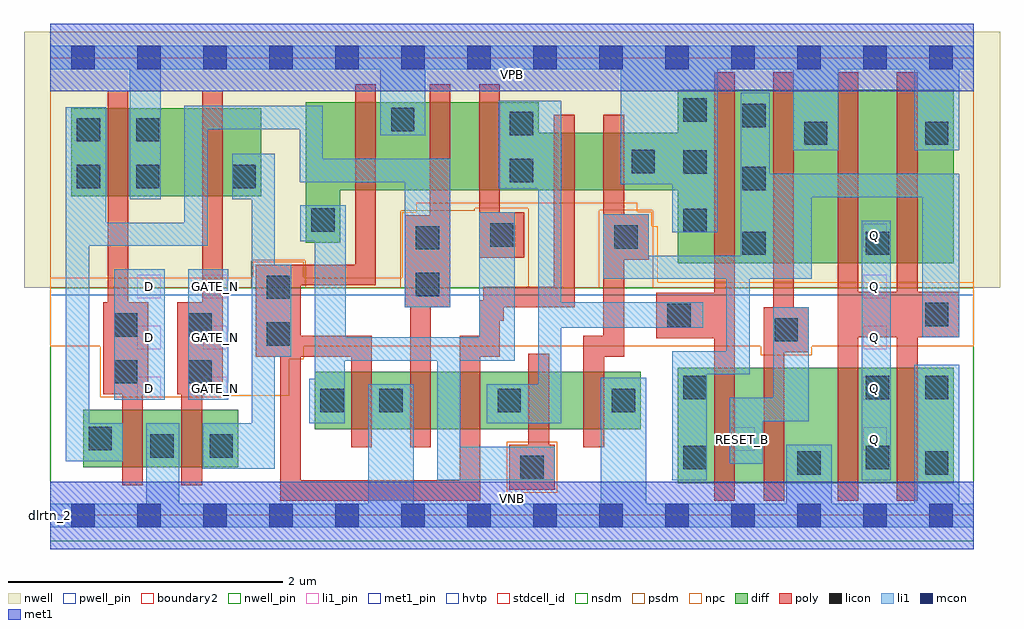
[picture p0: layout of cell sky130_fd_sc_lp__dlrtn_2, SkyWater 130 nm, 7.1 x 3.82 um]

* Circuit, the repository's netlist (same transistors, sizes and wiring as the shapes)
* Copyright 2020 The SkyWater PDK Authors
*
* Licensed under the Apache License, Version 2.0 (the "License");
* you may not use this file except in compliance with the License.
* You may obtain a copy of the License at
*
*     https://www.apache.org/licenses/LICENSE-2.0
*
* Unless required by applicable law or agreed to in writing, software
* distributed under the License is distributed on an "AS IS" BASIS,
* WITHOUT WARRANTIES OR CONDITIONS OF ANY KIND, either express or implied.
* See the License for the specific language governing permissions and
* limitations under the License.
*
* SPDX-License-Identifier: Apache-2.0

.SUBCKT sky130_fd_sc_lp__dlrtn_2 D GATE_N RESET_B VGND VNB VPB VPWR Q
*.PININFO D:I GATE_N:I RESET_B:I VGND:I VNB:I VPB:I VPWR:I Q:O
MI635 clkneg clkpos VPWR VPB sky130_fd_pr__pfet_01v8_hvt m=1 w=0.64U l=0.15U mult=1
+ sa=0.265 sb=0.265 sd=0.28 area=0.063 perim=1.14
MI17 M0 clkneg net51 VPB sky130_fd_pr__pfet_01v8_hvt m=1 w=0.64U l=0.15U mult=1
+ sa=0.265 sb=0.265 sd=0.28 area=0.063 perim=1.14
MI650 Q m1 VPWR VPB sky130_fd_pr__pfet_01v8_hvt m=2 w=1.26U l=0.15U mult=1 sa=0.265
+ sb=0.265 sd=0.28 area=0.063 perim=1.14
MI633 clkpos GATE_N VPWR VPB sky130_fd_pr__pfet_01v8_hvt m=1 w=0.64U l=0.15U mult=1
+ sa=0.265 sb=0.265 sd=0.28 area=0.063 perim=1.14
MI658 m1 RESET_B VPWR VPB sky130_fd_pr__pfet_01v8_hvt m=1 w=1.26U l=0.15U mult=1
+ sa=0.265 sb=0.265 sd=0.28 area=0.063 perim=1.14
MI18 net51 db VPWR VPB sky130_fd_pr__pfet_01v8_hvt m=1 w=0.64U l=0.15U mult=1 sa=0.265
+ sb=0.265 sd=0.28 area=0.063 perim=1.14
MI653 net59 m1 VPWR VPB sky130_fd_pr__pfet_01v8_hvt m=1 w=0.42U l=0.15U mult=1
+ sa=0.265 sb=0.265 sd=0.28 area=0.063 perim=1.14
MI651 M0 clkpos net59 VPB sky130_fd_pr__pfet_01v8_hvt m=1 w=0.42U l=0.15U mult=1
+ sa=0.265 sb=0.265 sd=0.28 area=0.063 perim=1.14
MI655 m1 M0 VPWR VPB sky130_fd_pr__pfet_01v8_hvt m=1 w=1.26U l=0.15U mult=1 sa=0.265
+ sb=0.265 sd=0.28 area=0.063 perim=1.14
MI638 db D VPWR VPB sky130_fd_pr__pfet_01v8_hvt m=1 w=0.64U l=0.15U mult=1 sa=0.265
+ sb=0.265 sd=0.28 area=0.063 perim=1.14
MI634 clkpos GATE_N VGND VNB sky130_fd_pr__nfet_01v8 m=1 w=0.42U l=0.15U mult=1
+ sa=0.265 sb=0.265 sd=0.28 area=0.063 perim=1.14
MI649 Q m1 VGND VNB sky130_fd_pr__nfet_01v8 m=2 w=0.84U l=0.15U mult=1 sa=0.265
+ sb=0.265 sd=0.28 area=0.063 perim=1.14
MI657 net86 RESET_B VGND VNB sky130_fd_pr__nfet_01v8 m=1 w=0.84U l=0.15U mult=1
+ sa=0.265 sb=0.265 sd=0.28 area=0.063 perim=1.14
MI652 M0 clkneg net102 VNB sky130_fd_pr__nfet_01v8 m=1 w=0.42U l=0.15U mult=1 sa=0.265
+ sb=0.265 sd=0.28 area=0.063 perim=1.14
MI654 net102 m1 VGND VNB sky130_fd_pr__nfet_01v8 m=1 w=0.42U l=0.15U mult=1 sa=0.265
+ sb=0.265 sd=0.28 area=0.063 perim=1.14
MI656 m1 M0 net86 VNB sky130_fd_pr__nfet_01v8 m=1 w=0.84U l=0.15U mult=1 sa=0.265
+ sb=0.265 sd=0.28 area=0.063 perim=1.14
MI636 clkneg clkpos VGND VNB sky130_fd_pr__nfet_01v8 m=1 w=0.42U l=0.15U mult=1
+ sa=0.265 sb=0.265 sd=0.28 area=0.063 perim=1.14
MI637 db D VGND VNB sky130_fd_pr__nfet_01v8 m=1 w=0.42U l=0.15U mult=1 sa=0.265
+ sb=0.265 sd=0.28 area=0.063 perim=1.14
MI19 M0 clkpos net98 VNB sky130_fd_pr__nfet_01v8 m=1 w=0.42U l=0.15U mult=1 sa=0.265
+ sb=0.265 sd=0.28 area=0.063 perim=1.14
MI20 net98 db VGND VNB sky130_fd_pr__nfet_01v8 m=1 w=0.42U l=0.15U mult=1 sa=0.265
+ sb=0.265 sd=0.28 area=0.063 perim=1.14
.ENDS sky130_fd_sc_lp__dlrtn_2

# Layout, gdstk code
import gdstk
lib = gdstk.Library(unit=1e-6, precision=1e-09)
def R(c, l, rs):  # rectangles x0, y0, x1, y1
    for r in rs: c.add(gdstk.rectangle(r[:2], r[2:], *l))
def A(c, l, x, y, w, h, nx, ny, dx, dy):  # array of equal rectangles
    R(c, l, [(x+i*dx, y+j*dy, x+i*dx+w, y+j*dy+h) for i in range(nx) for j in range(ny)])
def P(c, l, *ps):  # polygons
    for p in ps: c.add(gdstk.Polygon(p, *l))
nwell_pin = (64, 16)
nwell = (64, 20)
diff = (65, 20)
poly = (66, 20)
licon = (66, 44)
li1_pin = (67, 16)
li1 = (67, 20)
mcon = (67, 44)
met1_pin = (68, 16)
met1 = (68, 20)
hvtp = (78, 44)
stdcell_id = (81, 4)
nsdm = (93, 44)
psdm = (94, 20)
npc = (95, 20)
pwell_pin = (122, 16)
boundary2 = (236, 0)

sky130_fd_sc_lp__dlrtn_2 = lib.new_cell('sky130_fd_sc_lp__dlrtn_2')
R(sky130_fd_sc_lp__dlrtn_2, nwell_pin, [(0,3.085,6.72,3.33)])
R(sky130_fd_sc_lp__dlrtn_2, nwell, [(-0.19,1.655,6.91,3.52)])
R(sky130_fd_sc_lp__dlrtn_2, diff, [(4.565,0.235,6.575,1.075), (0.24,0.35,1.37,0.77), (1.925,0.625,4.295,1.045), (0.155,2.32,1.535,2.96)])
P(sky130_fd_sc_lp__dlrtn_2, diff, [(6.575,3.095),(4.565,3.095),(4.565,2.785),(3.555,2.785),(3.555,3.005),(1.86,3.005),(1.86,1.985),(2.11,1.985),(2.11,2.365),(4.565,2.365),(4.565,1.835),(6.575,1.835)])
P(sky130_fd_sc_lp__dlrtn_2, poly, [(0.715,1.55),(0.57,1.55),(0.57,3.09),(0.42,3.09),(0.42,1.55),(0.385,1.55),(0.385,0.88),(0.525,0.88),(0.525,0.22),(0.675,0.22),(0.675,0.88),(0.715,0.88)],
  [(1.255,3.09),(1.105,3.09),(1.105,1.55),(0.925,1.55),(0.925,0.88),(0.955,0.88),(0.955,0.22),(1.105,0.22),(1.105,0.88),(1.255,0.88)],
  [(2.91,3.135),(2.76,3.135),(2.76,2.185),(2.58,2.185),(2.58,1.515),(2.62,1.515),(2.62,0.495),(2.77,0.495),(2.77,1.515),(2.91,1.515)],
  [(3.45,2.205),(3.27,2.205),(3.27,3.135),(3.12,3.135),(3.12,1.875),(3.45,1.875)],
  [(3.67,0.515),(3.63,0.515),(3.63,1.175),(3.48,1.175),(3.48,0.515),(3.34,0.515),(3.34,0.185),(3.67,0.185)],
  [(3.815,2.915),(3.665,2.915),(3.665,1.665),(3.15,1.665),(3.15,1.565),(3.12,1.565),(3.12,1.305),(2.98,1.305),(2.98,0.255),(1.825,0.255),(1.825,1.155),(2.19,1.155),(2.19,0.495),(2.34,0.495),(2.34,1.305),(1.825,1.305),(1.825,1.675),(2.37,1.675),(2.37,3.135),(2.22,3.135),(2.22,1.825),(1.495,1.825),(1.495,1.155),(1.675,1.155),(1.675,0.105),(3.13,0.105),(3.13,1.155),(3.27,1.155),(3.27,1.415),(3.3,1.415),(3.3,1.515),(3.815,1.515)],
  [(4.355,2.19),(4.175,2.19),(4.175,2.915),(4.025,2.915),(4.025,1.305),(3.88,1.305),(3.88,0.495),(4.03,0.495),(4.03,1.155),(4.175,1.155),(4.175,1.86),(4.355,1.86)],
  [(4.98,3.225),(4.83,3.225),(4.83,1.62),(4.41,1.62),(4.41,1.29),(4.83,1.29),(4.83,0.105),(4.98,0.105)],
  [(5.52,1.515),(5.41,1.515),(5.41,3.225),(5.26,3.225),(5.26,1.515),(5.19,1.515),(5.19,0.105),(5.34,0.105),(5.34,1.185),(5.52,1.185)],
  [(6.615,1.625),(6.31,1.625),(6.31,3.225),(6.16,3.225),(6.16,1.625),(5.88,1.625),(5.88,3.225),(5.73,3.225),(5.73,0.105),(5.88,0.105),(5.88,1.295),(6.16,1.295),(6.16,0.105),(6.31,0.105),(6.31,1.295),(6.615,1.295)])
R(sky130_fd_sc_lp__dlrtn_2, licon, [(3.42,0.265,3.59,0.435), (5.435,0.295,5.605,0.465), (6.365,0.295,6.535,0.465), (4.605,0.335,4.775,0.505), (5.935,0.335,6.105,0.505), (0.73,0.42,0.9,0.59), (1.16,0.42,1.33,0.59), (0.28,0.475,0.45,0.645), (1.965,0.75,2.135,0.92), (2.395,0.75,2.565,0.92), (3.255,0.75,3.425,0.92), (4.085,0.75,4.255,0.92), (4.605,0.845,4.775,1.015), (5.935,0.845,6.105,1.015), (6.365,0.845,6.535,1.015), (0.465,0.96,0.635,1.13), (1.005,0.96,1.175,1.13), (1.575,1.235,1.745,1.405), (5.27,1.265,5.44,1.435), (0.465,1.3,0.635,1.47), (1.005,1.3,1.175,1.47), (4.49,1.37,4.66,1.54), (6.365,1.375,6.535,1.545), (1.575,1.575,1.745,1.745), (2.66,1.595,2.83,1.765), (5.035,1.895,5.205,2.065), (5.935,1.895,6.105,2.065), (2.66,1.935,2.83,2.105), (4.105,1.94,4.275,2.11), (3.2,1.955,3.37,2.125), (4.605,2.06,4.775,2.23), (1.9,2.065,2.07,2.235), (5.035,2.365,5.205,2.535), (0.195,2.38,0.365,2.55), (0.625,2.38,0.795,2.55), (1.325,2.38,1.495,2.55), (3.345,2.425,3.515,2.595), (4.605,2.485,4.775,2.655), (4.23,2.49,4.4,2.66), (5.485,2.695,5.655,2.865), (6.365,2.695,6.535,2.865), (0.195,2.72,0.365,2.89), (0.625,2.72,0.795,2.89), (3.345,2.765,3.515,2.935), (2.48,2.795,2.65,2.965), (5.035,2.825,5.205,2.995), (4.605,2.865,4.775,3.035)])
A(sky130_fd_sc_lp__dlrtn_2, li1_pin, 5.915, 0.47, 0.17, 0.17, 1, 5, 0, 0.37)
A(sky130_fd_sc_lp__dlrtn_2, li1_pin, 0.635, 0.84, 0.17, 0.17, 1, 3, 0, 0.37)
A(sky130_fd_sc_lp__dlrtn_2, li1_pin, 1.115, 0.84, 0.17, 0.17, 1, 3, 0, 0.37)
R(sky130_fd_sc_lp__dlrtn_2, li1_pin, [(4.955,0.47,5.125,0.64)])
R(sky130_fd_sc_lp__dlrtn_2, li1, [(5.905,0.255,6.115,2.145), (0.465,0.84,0.835,1.79), (1.005,0.84,1.295,1.79)])
P(sky130_fd_sc_lp__dlrtn_2, li1, [(6.615,2.485),(5.235,2.485),(5.235,3.075),(5.025,3.075),(5.025,1.89),(4.355,1.89),(4.355,2.19),(4.025,2.19),(4.025,1.72),(4.92,1.72),(4.92,1.195),(4.525,1.195),(4.525,0.255),(4.775,0.255),(4.775,1.025),(5.09,1.025),(5.09,1.72),(5.54,1.72),(5.54,2.315),(6.345,2.315),(6.345,1.295),(6.615,1.295)],
  [(5.26,0.855),(5.26,1.515),(5.52,1.515),(5.52,0.685),(5.185,0.685),(5.185,0.375),(4.945,0.375),(4.945,0.855)],
  [(6.72,3.415),(0,3.415),(0,3.245),(0.58,3.245),(0.58,2.3),(0.805,2.3),(0.805,3.245),(2.4,3.245),(2.4,2.765),(2.73,2.765),(2.73,3.245),(4.15,3.245),(4.15,2.41),(4.525,2.41),(4.525,2.06),(4.855,2.06),(4.855,3.245),(5.405,3.245),(5.405,2.655),(5.735,2.655),(5.735,3.245),(6.285,3.245),(6.285,2.655),(6.615,2.655),(6.615,3.245),(6.72,3.245)],
  [(0.7,0.085),(0.7,0.67),(0.94,0.67),(0.94,0.085),(2.315,0.085),(2.315,0.955),(2.645,0.955),(2.645,0.085),(4.005,0.085),(4.005,1),(4.335,1),(4.335,0.085),(5.355,0.085),(5.355,0.515),(5.685,0.515),(5.685,0.085),(6.285,0.085),(6.285,1.095),(6.615,1.095),(6.615,0.085),(6.72,0.085),(6.72,-0.085),(0,-0.085),(0,0.085)],
  [(3.72,1.55),(4.75,1.55),(4.75,1.365),(3.72,1.365),(3.72,0.67),(3.175,0.67),(3.175,0.955),(3.55,0.955),(3.55,2.375),(3.265,2.375),(3.265,3.015),(3.72,3.015)],
  [(1.635,1.825),(1.755,1.825),(1.755,1.155),(1.635,1.155),(1.635,0.34),(1.11,0.34),(1.11,0.67),(1.465,0.67),(1.465,2.3),(1.325,2.3),(1.325,2.63),(1.635,2.63)],
  [(0.285,1.96),(0.285,0.67),(0.53,0.67),(0.53,0.395),(0.115,0.395),(0.115,2.97),(0.41,2.97),(0.41,2.13),(0.975,2.13),(0.975,2.98),(1.985,2.98),(1.985,2.595),(2.91,2.595),(2.91,1.515),(2.58,1.515),(2.58,2.425),(1.815,2.425),(1.815,2.81),(1.145,2.81),(1.145,1.96)],
  [(3.67,0.5),(2.985,0.5),(2.985,1.125),(3.38,1.125),(3.38,2.205),(3.12,2.205),(3.12,1.295),(2.15,1.295),(2.15,2.255),(1.82,2.255),(1.82,1.995),(1.925,1.995),(1.925,0.995),(1.885,0.995),(1.885,0.67),(2.145,0.67),(2.145,1.125),(2.815,1.125),(2.815,0.255),(3.67,0.255)])
A(sky130_fd_sc_lp__dlrtn_2, mcon, 0.155, -0.085, 0.17, 0.17, 14, 2, 0.48, 3.33)
R(sky130_fd_sc_lp__dlrtn_2, met1_pin, [(0,0,6.72,0.245), (0,3.085,6.72,3.33)])
R(sky130_fd_sc_lp__dlrtn_2, met1, [(0,-0.245,6.72,0.245), (0,3.085,6.72,3.575)])
R(sky130_fd_sc_lp__dlrtn_2, hvtp, [(0,1.6,6.72,3.33)])
R(sky130_fd_sc_lp__dlrtn_2, stdcell_id, [(0,0,6.72,3.33)])
R(sky130_fd_sc_lp__dlrtn_2, nsdm, [(0,-0.19,6.72,1.655)])
P(sky130_fd_sc_lp__dlrtn_2, psdm, [(6.72,3.52),(0,3.52),(0,1.655),(1.465,1.655),(1.465,1.855),(1.855,1.855),(1.855,1.655),(2.55,1.655),(2.55,2.215),(3.09,2.215),(3.09,2.235),(3.48,2.235),(3.48,1.655),(3.995,1.655),(3.995,2.22),(4.385,2.22),(4.385,1.655),(6.72,1.655)])
R(sky130_fd_sc_lp__dlrtn_2, npc, [(3.32,0.165,3.69,0.535)])
P(sky130_fd_sc_lp__dlrtn_2, npc, [(6.72,1.695),(4.42,1.695),(4.42,2.105),(4.375,2.105),(4.375,2.21),(4.27,2.21),(4.27,2.275),(2.665,2.275),(2.665,2.205),(2.56,2.205),(2.56,1.73),(1.845,1.73),(1.845,1.845),(1.475,1.845),(1.475,1.73),(0,1.73),(0,1.23),(0.365,1.23),(0.365,0.86),(1.275,0.86),(1.275,0.87),(1.74,0.87),(1.74,1.135),(1.845,1.135),(1.845,1.23),(5.17,1.23),(5.17,1.165),(5.54,1.165),(5.54,1.23),(6.72,1.23)])
R(sky130_fd_sc_lp__dlrtn_2, pwell_pin, [(0,0,6.72,0.245)])
R(sky130_fd_sc_lp__dlrtn_2, boundary2, [(0,0,6.72,3.33)])
sky130_fd_sc_lp__dlrtn_2.add(gdstk.Label('VNB', (3.36,0.123), layer=64, texttype=59))
sky130_fd_sc_lp__dlrtn_2.add(gdstk.Label('VPB', (3.36,3.208), layer=64, texttype=5))
sky130_fd_sc_lp__dlrtn_2.add(gdstk.Label('dlrtn_2', (0,0), layer=83, texttype=44))
sky130_fd_sc_lp__dlrtn_2.add(gdstk.Label('VPWR', (3.36,3.208), layer=68, texttype=5))
sky130_fd_sc_lp__dlrtn_2.add(gdstk.Label('VGND', (3.36,0.123), layer=68, texttype=5))
sky130_fd_sc_lp__dlrtn_2.add(gdstk.Label('D', (0.72,0.925), layer=67, texttype=5))
sky130_fd_sc_lp__dlrtn_2.add(gdstk.Label('D', (0.72,1.295), layer=67, texttype=5))
sky130_fd_sc_lp__dlrtn_2.add(gdstk.Label('D', (0.72,1.665), layer=67, texttype=5))
sky130_fd_sc_lp__dlrtn_2.add(gdstk.Label('RESET_B', (5.04,0.555), layer=67, texttype=5))
sky130_fd_sc_lp__dlrtn_2.add(gdstk.Label('GATE_N', (1.2,0.925), layer=67, texttype=5))
sky130_fd_sc_lp__dlrtn_2.add(gdstk.Label('GATE_N', (1.2,1.295), layer=67, texttype=5))
sky130_fd_sc_lp__dlrtn_2.add(gdstk.Label('GATE_N', (1.2,1.665), layer=67, texttype=5))
sky130_fd_sc_lp__dlrtn_2.add(gdstk.Label('Q', (6,0.555), layer=67, texttype=5))
sky130_fd_sc_lp__dlrtn_2.add(gdstk.Label('Q', (6,0.925), layer=67, texttype=5))
sky130_fd_sc_lp__dlrtn_2.add(gdstk.Label('Q', (6,2.035), layer=67, texttype=5))
sky130_fd_sc_lp__dlrtn_2.add(gdstk.Label('Q', (6,1.295), layer=67, texttype=5))
sky130_fd_sc_lp__dlrtn_2.add(gdstk.Label('Q', (6,1.665), layer=67, texttype=5))

lib.write_gds('sky130_fd_sc_lp__dlrtn_2.gds')
